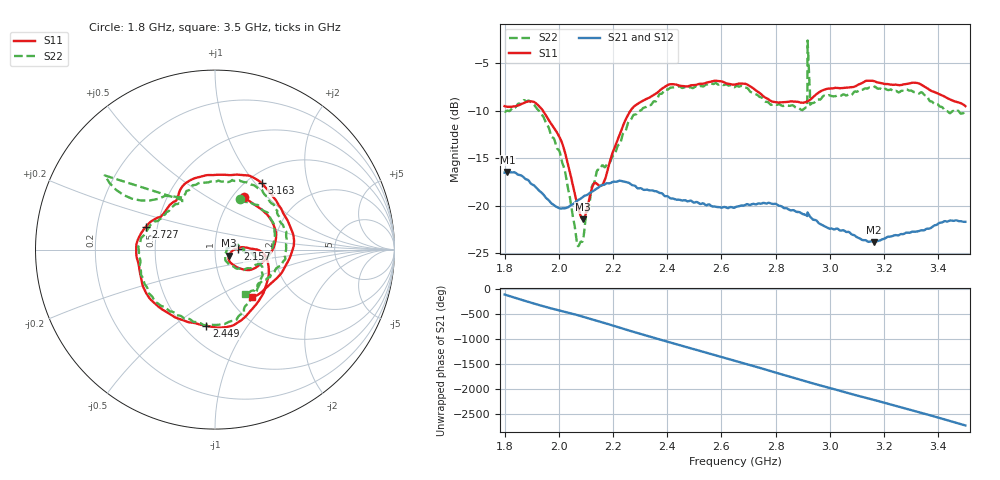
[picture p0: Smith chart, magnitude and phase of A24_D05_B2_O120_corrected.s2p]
! Created with skrf 1.9.0 (http://scikit-rf.org).
# Hz S RI R 50.0
!freq ReS11 ImS11 ReS21 ImS21 ReS12 ImS12 ReS22 ImS22
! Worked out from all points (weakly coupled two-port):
!   1601 points, 1.8 GHz to 3.5 GHz, reference 50 ohm
!   highest |S21| = -16.43 dB at 1.811 GHz (marker M1); lowest = -23.8 dB at 3.162 GHz (marker M2)
!   lowest |S11| = -21.4 dB at 2.089 GHz (marker M3), VSWR 1.19, Z = 58.4 - j3.88 ohm
!   |S11| at or under -10 dB: 1.942 GHz to 2.264 GHz (322.9 MHz wide, 15.4 % of centre)
!   |S22| runs from -24.2 to -2.6 dB; largest |S21 - S12| = 0.0027
!   S11 on the Smith chart (normalised r, x): 1.8 GHz: 1.13, +0.74; 2.157 GHz: 1.29, +0.01; 2.449 GHz: 0.64, -0.66; 2.727 GHz: 0.43, +0.13; 3.163 GHz: 1.16, +1.08; 3.5 GHz: 1.27, -0.75
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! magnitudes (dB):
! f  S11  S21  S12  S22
! 1.8 GHz  -9.5  -16.5  -16.5  -10.1
! 1.811 GHz  -9.6  -16.4  -16.4  -10.0
! 1.884 GHz  -9.1  -17.2  -17.3  -9.0
! 1.941 GHz  -10.0  -18.8  -18.8  -10.6
! 2.013 GHz  -13.4  -20.3  -20.3  -15.5
! 2.067 GHz  -19.7  -19.5  -19.5  -23.9
! 2.084 GHz  -21.3  -19.2  -19.1  -23.8
! 2.089 GHz  -21.4  -19.1  -19.1  -23.6
! 2.125 GHz  -17.9  -18.5  -18.5  -17.8
! 2.157 GHz  -17.9  -17.9  -17.8  -15.9
! 2.261 GHz  -10.2  -17.6  -17.6  -11.0
! 2.367 GHz  -8.0  -18.6  -18.5  -8.5
! 2.449 GHz  -7.4  -19.4  -19.4  -7.5
! 2.65 GHz  -7.2  -20.2  -20.1  -7.5
! 2.727 GHz  -7.9  -19.9  -19.9  -8.3
! 2.899 GHz  -9.2  -20.9  -20.9  -9.9
! 2.926 GHz  -8.9  -21.1  -21.1  -7.8
! 2.934 GHz  -8.7  -21.3  -21.3  -9.2
! 3.162 GHz  -6.9  -23.8  -23.7  -7.5
! 3.163 GHz  -6.9  -23.8  -23.8  -7.5
! 3.217 GHz  -7.2  -23.2  -23.2  -7.8
! 3.5 GHz  -9.5  -21.7  -21.7  -10.5
